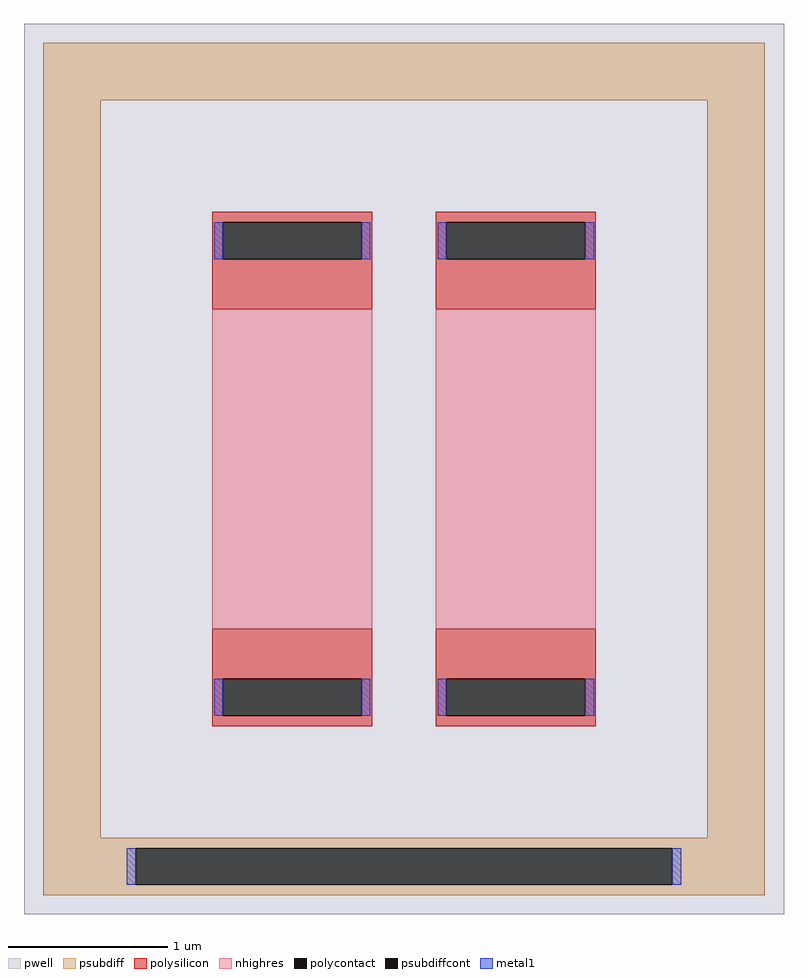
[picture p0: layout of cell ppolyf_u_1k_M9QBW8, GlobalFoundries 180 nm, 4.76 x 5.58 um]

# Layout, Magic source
magic
tech gf180mcuD
magscale 1 10
<< pwell >>
rect -476 -558 476 558
<< psubdiff >>
rect -452 462 452 534
rect -452 -462 -380 462
rect 380 -462 452 462
rect -452 -475 452 -462
rect -452 -521 -336 -475
rect 336 -521 452 -475
rect -452 -534 452 -521
<< psubdiffcont >>
rect -336 -521 336 -475
<< polysilicon >>
rect -240 309 -40 322
rect -240 263 -227 309
rect -53 263 -40 309
rect -240 200 -40 263
rect -240 -263 -40 -200
rect -240 -309 -227 -263
rect -53 -309 -40 -263
rect -240 -322 -40 -309
rect 40 309 240 322
rect 40 263 53 309
rect 227 263 240 309
rect 40 200 240 263
rect 40 -263 240 -200
rect 40 -309 53 -263
rect 227 -309 240 -263
rect 40 -322 240 -309
<< polycontact >>
rect -227 263 -53 309
rect -227 -309 -53 -263
rect 53 263 227 309
rect 53 -309 227 -263
<< nhighres >>
rect -240 -200 -40 200
rect 40 -200 240 200
<< metal1 >>
rect -238 263 -227 309
rect -53 263 -42 309
rect 42 263 53 309
rect 227 263 238 309
rect -238 -309 -227 -263
rect -53 -309 -42 -263
rect 42 -309 53 -263
rect 227 -309 238 -263
rect -347 -521 -336 -475
rect 336 -521 347 -475
<< properties >>
string FIXED_BBOX -416 -498 416 498
string gencell ppolyf_u_1k
string library gf180mcu
string parameters w 1.0 l 2 m 1 nx 2 wmin 1.000 lmin 1.000 class resistor rho 1000 val 2.0k dummy 0 dw 0.0 term 0.0 sterm 0.0 caplen 0.4 snake 0 glc 0 grc 0 gtc 0 gbc 1 roverlap 1 endcov 100 full_metal 0 compatible {ppolyf_u_1k ppolyf_u_1k_6p0}
<< end >>
